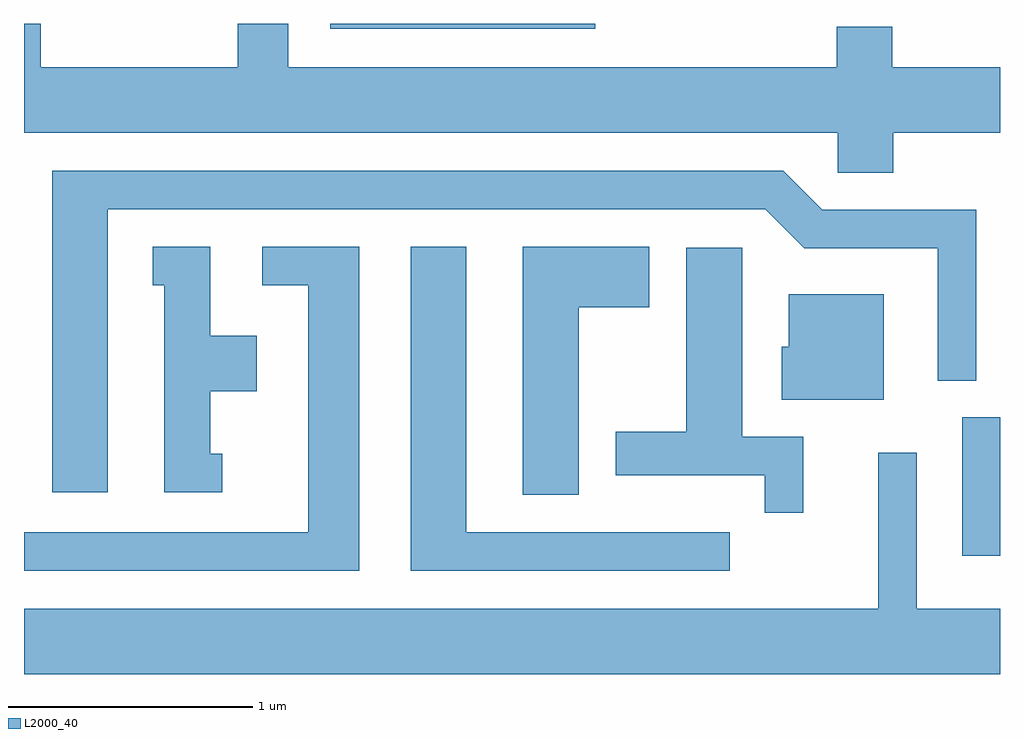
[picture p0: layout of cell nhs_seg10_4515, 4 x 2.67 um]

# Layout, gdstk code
import gdstk
lib = gdstk.Library(unit=1e-6, precision=1e-09)
def R(c, l, rs):  # rectangles x0, y0, x1, y1
    for r in rs: c.add(gdstk.rectangle(r[:2], r[2:], *l))
def P(c, l, *ps):  # polygons
    for p in ps: c.add(gdstk.Polygon(p, *l))
L2000_40 = (2000, 40)

nhs_seg10_4515 = lib.new_cell('nhs_seg10_4515')
R(nhs_seg10_4515, L2000_40, [(321.456,2174.341,321.611,2174.909), (318.866,2176.501,319.953,2176.522)])
P(nhs_seg10_4515, L2000_40, [(321.174,2176.076),(321.611,2176.076),(321.611,2176.344),(321.169,2176.344),(321.169,2176.509),(320.941,2176.509),(320.941,2176.344),(318.694,2176.344),(318.694,2176.522),(318.486,2176.522),(318.486,2176.344),(317.679,2176.344),(317.679,2176.522),(317.611,2176.522),(317.611,2176.076),(320.946,2176.076),(320.946,2175.911),(321.174,2175.911)],
  [(317.954,2175.761),(320.649,2175.761),(320.809,2175.601),(321.356,2175.601),(321.356,2175.058),(321.514,2175.058),(321.514,2175.759),(320.882,2175.759),(320.722,2175.919),(317.726,2175.919),(317.726,2174.601),(317.954,2174.601)],
  [(320.503,2174.439),(319.424,2174.439),(319.424,2175.609),(319.196,2175.609),(319.196,2174.281),(320.503,2174.281)],
  [(318.423,2174.759),(318.374,2174.759),(318.374,2175.016),(318.564,2175.016),(318.564,2175.244),(318.374,2175.244),(318.374,2175.609),(318.138,2175.609),(318.138,2175.451),(318.186,2175.451),(318.186,2174.601),(318.423,2174.601)],
  [(319.884,2175.361),(320.174,2175.361),(320.174,2175.609),(319.656,2175.609),(319.656,2174.591),(319.884,2174.591)],
  [(318.984,2175.609),(318.588,2175.609),(318.588,2175.451),(318.776,2175.451),(318.776,2174.439),(317.611,2174.439),(317.611,2174.281),(318.984,2174.281)],
  [(320.804,2174.829),(320.554,2174.829),(320.554,2175.604),(320.326,2175.604),(320.326,2174.849),(320.036,2174.849),(320.036,2174.671),(320.646,2174.671),(320.646,2174.518),(320.804,2174.518)],
  [(321.134,2175.414),(320.746,2175.414),(320.746,2175.199),(320.716,2175.199),(320.716,2174.981),(321.134,2174.981)],
  [(321.611,2174.124),(321.269,2174.124),(321.269,2174.763),(321.111,2174.763),(321.111,2174.124),(317.611,2174.124),(317.611,2173.856),(321.611,2173.856)])

lib.write_gds('nhs_seg10_4515.gds')
